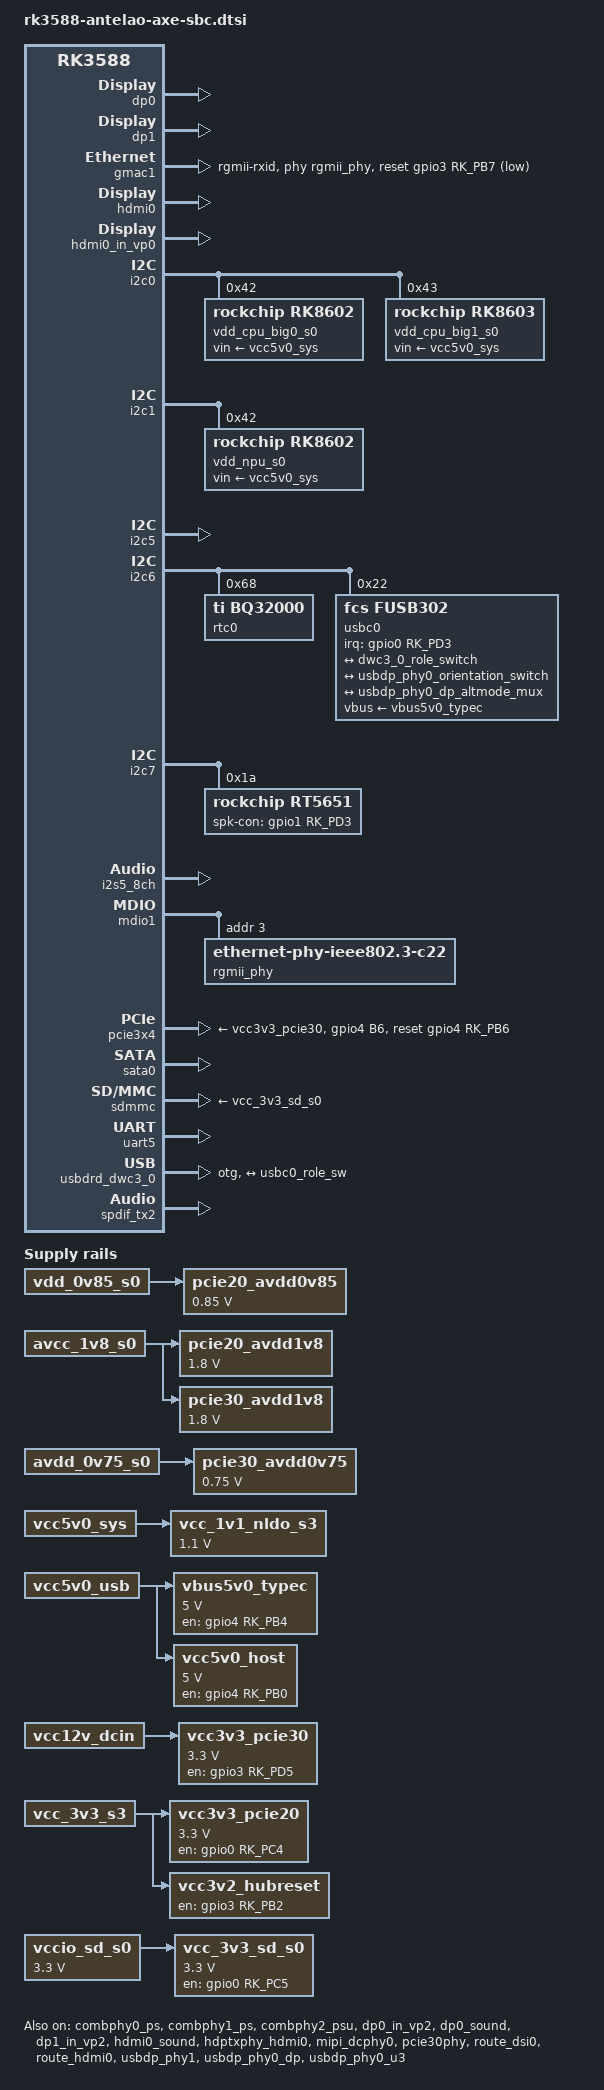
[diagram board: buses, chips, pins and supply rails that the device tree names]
// SPDX-License-Identifier: (GPL-2.0+ OR MIT)
/*
 * Copyright (c) 2022 Rockchip Electronics Co., Ltd.
 *
 */

#include "dt-bindings/usb/pd.h"
#include "rk3588.dtsi"
#include "rk3588-antelao.dtsi"
#include "rk3588-rk806-single.dtsi"

/ {
	/* If hdmirx node is disabled, delete the reserved-memory node here. */
	reserved-memory {
		#address-cells = <2>;
		#size-cells = <2>;
		ranges;

		/* Reserve 256MB memory for hdmirx-controller@fdee0000 */
		cma {
			compatible = "shared-dma-pool";
			reusable;
			reg = <0x0 (256 * 0x100000) 0x0 (256 * 0x100000)>;
			linux,cma-default;
		};
	};

	rt5651_sound: rt5651-sound {
		status = "okay";
		compatible = "rockchip,multicodecs-card";
		rockchip,card-name = "rockchip-rt5651";

		rockchip,format = "i2s";
		rockchip,mclk-fs = <256>;
		rockchip,cpu = <&i2s0_8ch>;
		rockchip,codec = <&rt5651>;
		keyup-threshold-microvolt = <1800000>;
		poll-interval = <100>;
		rockchip,audio-routing =
			"Headphone", "HPOL",
			"Headphone", "HPOR",
			"Speaker", "LOUT2",
			"Speaker", "ROUT2",
			"Headphone", "Headphone Power",
			"Speaker", "Speaker Power",
			"IN2P", "Headset Mic",
			"IN2N", "Headset Mic",
			"Headset Mic", "micbias1";
	};

	pcie20_avdd0v85: pcie20-avdd0v85 {
		compatible = "regulator-fixed";
		regulator-name = "pcie20_avdd0v85";
		regulator-boot-on;
		regulator-always-on;
		regulator-min-microvolt = <850000>;
		regulator-max-microvolt = <850000>;
		vin-supply = <&vdd_0v85_s0>;
	};

	pcie20_avdd1v8: pcie20-avdd1v8 {
		compatible = "regulator-fixed";
		regulator-name = "pcie20_avdd1v8";
		regulator-boot-on;
		regulator-always-on;
		regulator-min-microvolt = <1800000>;
		regulator-max-microvolt = <1800000>;
		vin-supply = <&avcc_1v8_s0>;
	};

	pcie30_avdd0v75: pcie30-avdd0v75 {
		compatible = "regulator-fixed";
		regulator-name = "pcie30_avdd0v75";
		regulator-boot-on;
		regulator-always-on;
		regulator-min-microvolt = <750000>;
		regulator-max-microvolt = <750000>;
		vin-supply = <&avdd_0v75_s0>;
	};

	pcie30_avdd1v8: pcie30-avdd1v8 {
		compatible = "regulator-fixed";
		regulator-name = "pcie30_avdd1v8";
		regulator-boot-on;
		regulator-always-on;
		regulator-min-microvolt = <1800000>;
		regulator-max-microvolt = <1800000>;
		vin-supply = <&avcc_1v8_s0>;
	};

	vcc_1v1_nldo_s3: vcc-1v1-nldo-s3 {
		compatible = "regulator-fixed";
		regulator-name = "vcc_1v1_nldo_s3";
		regulator-always-on;
		regulator-boot-on;
		regulator-min-microvolt = <1100000>;
		regulator-max-microvolt = <1100000>;
		vin-supply = <&vcc5v0_sys>;
	};

	vbus5v0_typec: vbus5v0-typec {
		compatible = "regulator-fixed";
		regulator-name = "vbus5v0_typec";
		regulator-min-microvolt = <5000000>;
		regulator-max-microvolt = <5000000>;
		enable-active-high;
		gpio = <&gpio4 RK_PB4 GPIO_ACTIVE_HIGH>; /* TYPEC5V_PWREN */
		vin-supply = <&vcc5v0_usb>;
		pinctrl-names = "default";
		pinctrl-0 = <&typec5v_pwren>;
	};

	vcc3v3_pcie30: vcc3v3-pcie30 {
		compatible = "regulator-fixed";
		regulator-name = "vcc3v3_pcie30";
		regulator-min-microvolt = <3300000>;
		regulator-max-microvolt = <3300000>;
		enable-active-high;
		/* Add mux */
		gpio = <&gpio3 RK_PD5 GPIO_ACTIVE_HIGH>; /* PCIE30_PWREN_H */
		regulator-always-on;
		startup-delay-us = <50000>;
		vin-supply = <&vcc12v_dcin>;
	};

	vcc5v0_host: vcc5v0-host {
		compatible = "regulator-fixed";
		regulator-name = "vcc5v0_host";
		regulator-boot-on;
		regulator-always-on;
		regulator-min-microvolt = <5000000>;
		regulator-max-microvolt = <5000000>;
		enable-active-high;
		gpio = <&gpio4 RK_PB0 GPIO_ACTIVE_HIGH>; /* USB_HOST_PWREN */
		vin-supply = <&vcc5v0_usb>;
		pinctrl-names = "default";
		pinctrl-0 = <&vcc5v0_host_en>;
	};

	vcc_3v3_sd_s0: vcc-3v3-sd-s0-regulator {
		compatible = "regulator-fixed";
		regulator-name = "vcc_3v3_sd_s0";
		gpio = <&gpio0 RK_PC5 GPIO_ACTIVE_LOW>;
		pinctrl-0 = <&sd_s0_pwr>;
		pinctrl-names = "default";
		regulator-min-microvolt = <3300000>;
		regulator-max-microvolt = <3300000>;
		enable-active-high;
		startup-delay-us = <1000000>;
		vin-supply = <&vccio_sd_s0>;
	};

	vcc3v3_pcie20: vcc3v3-pcie20 {
		compatible = "regulator-fixed";
		regulator-name = "vcc3v3_pcie20";
		pinctrl-0 = <&pcie20_pwr>;
		pinctrl-names = "default";
		regulator-min-microvolt = <3300000>;
		regulator-max-microvolt = <3300000>;
		enable-active-high;
		gpio = <&gpio0 RK_PC4 GPIO_ACTIVE_HIGH>;
		vin-supply = <&vcc_3v3_s3>;
	};

	vcc3v2_hubreset: vcc3v3-hubreset {
		compatible = "regulator-fixed";
		regulator-name = "vcc3v3_hubreset";
		enable-active-high;
		regulator-boot-on;
		regulator-always-on;
		gpio = <&gpio3 RK_PB2 GPIO_ACTIVE_HIGH>;
		vin-supply = <&vcc_3v3_s3>;
		pinctrl-names = "default";
		pinctrl-0 = <&usb_hub_rst>;
	};
};

&combphy0_ps {
	status = "okay";
};

&combphy1_ps {
	status = "okay";
};

&combphy2_psu {
	status = "okay";
};

&dp0 {
	status = "okay";
};

&dp0_in_vp2 {
	status = "okay";
};

&dp0_sound {
	status = "okay";
};

&dp1 {
	pinctrl-names = "default";
	pinctrl-0 = <&dp1m0_pins>;
	status = "okay";
};

&dp1_in_vp2 {
	status = "okay";
};

&dsi0 {
	status = "disabled";
};

&dsi0_in_vp2 {
	status = "disabled";
};

&dsi0_in_vp3 {
	status = "disabled";
};

&dsi1 {
	status = "disabled";
};

&dsi1_in_vp2 {
	status = "disabled";
};

&dsi1_in_vp3 {
	status = "disabled";
};

&gmac1 {
	/* Use rgmii-rxid mode to disable rx delay inside Soc */
	phy-mode = "rgmii-rxid";
	clock_in_out = "output";

	snps,reset-gpio = <&gpio3 RK_PB7 GPIO_ACTIVE_LOW>;
	snps,reset-active-low;
	/* Reset time is 20ms, 100ms for rtl8211f */
	snps,reset-delays-us = <0 20000 100000>;

	pinctrl-names = "default";
	pinctrl-0 = <&gmac1_miim
		     &gmac1_tx_bus2
		     &gmac1_rx_bus2
		     &gmac1_rgmii_clk
		     &gmac1_rgmii_bus>;

	tx_delay = <0x43>;
	/* rx_delay = <0x3f>; */

	phy-handle = <&rgmii_phy>;
	status = "okay";
};

&hdmi0 {
	status = "okay";
};

&hdmi0_in_vp0 {
	status = "okay";
};

&hdmi0_sound {
	status = "okay";
};

&hdmi1 {
	status = "disabled";
};

&hdmi1_in_vp1 {
	status = "disabled";
};

&hdmi1_sound {
	status = "disabled";
};

&hdmirx_ctrler {
	status = "disabled";
};

&hdptxphy_hdmi0 {
	status = "okay";
};

&hdptxphy_hdmi1 {
	status = "disabled";
};

&i2c0 {
	status = "okay";
	pinctrl-names = "default";
	pinctrl-0 = <&i2c0m2_xfer>;

	vdd_cpu_big0_s0: vdd_cpu_big0_mem_s0: rk8602@42 {
		compatible = "rockchip,rk8602";
		reg = <0x42>;
		vin-supply = <&vcc5v0_sys>;
		regulator-compatible = "rk860x-reg";
		regulator-name = "vdd_cpu_big0_s0";
		regulator-min-microvolt = <550000>;
		regulator-max-microvolt = <1050000>;
		regulator-ramp-delay = <2300>;
		rockchip,suspend-voltage-selector = <1>;
		regulator-boot-on;
		regulator-always-on;
		regulator-state-mem {
			regulator-off-in-suspend;
		};
	};

	vdd_cpu_big1_s0: vdd_cpu_big1_mem_s0: rk8603@43 {
		compatible = "rockchip,rk8603";
		reg = <0x43>;
		vin-supply = <&vcc5v0_sys>;
		regulator-compatible = "rk860x-reg";
		regulator-name = "vdd_cpu_big1_s0";
		regulator-min-microvolt = <550000>;
		regulator-max-microvolt = <1050000>;
		regulator-ramp-delay = <2300>;
		rockchip,suspend-voltage-selector = <1>;
		regulator-boot-on;
		regulator-always-on;
		regulator-state-mem {
			regulator-off-in-suspend;
		};
	};
};

&i2c1 {
	status = "okay";
	pinctrl-names = "default";
	pinctrl-0 = <&i2c1m2_xfer>;

	vdd_npu_s0: vdd_npu_mem_s0: rk8602@42 {
		compatible = "rockchip,rk8602";
		reg = <0x42>;
		vin-supply = <&vcc5v0_sys>;
		regulator-compatible = "rk860x-reg";
		regulator-name = "vdd_npu_s0";
		regulator-min-microvolt = <550000>;
		regulator-max-microvolt = <950000>;
		regulator-ramp-delay = <2300>;
		rockchip,suspend-voltage-selector = <1>;
		regulator-boot-on;
		regulator-always-on;
		regulator-state-mem {
			regulator-off-in-suspend;
		};
	};
};

&i2c4 {
	status = "disabled";
};

&i2c5 {
	status = "okay";
};

&i2c6 {
	status = "okay";

	rtc0: rtc@68 {
		compatible = "ti,bq32000";
		reg = <0x68>;
		status = "okay";
	};

	usbc0: fusb302@22 {
		compatible = "fcs,fusb302";
		reg = <0x22>;
		interrupt-parent = <&gpio0>;
		interrupts = <RK_PD3 IRQ_TYPE_LEVEL_LOW>;
		pinctrl-names = "default";
		pinctrl-0 = <&usbc0_int>;
		vbus-supply = <&vbus5v0_typec>;
		status = "okay";

		ports {
			#address-cells = <1>;
			#size-cells = <0>;

			port@0 {
				reg = <0>;
				usbc0_role_sw: endpoint@0 {
					remote-endpoint = <&dwc3_0_role_switch>;
				};
			};
		};

		usb_con: connector {
			compatible = "usb-c-connector";
			label = "USB-C";
			data-role = "dual";
			power-role = "dual";
			try-power-role = "sink";
			op-sink-microwatt = <1000000>;
			sink-pdos =
				<PDO_FIXED(5000, 1000, PDO_FIXED_USB_COMM)>;
			source-pdos =
				<PDO_FIXED(5000, 3000, PDO_FIXED_USB_COMM)>;

			altmodes {
				#address-cells = <1>;
				#size-cells = <0>;

				altmode@0 {
					reg = <0>;
					svid = <0xff01>;
					vdo = <0xffffffff>;
				};
			};

			ports {
				#address-cells = <1>;
				#size-cells = <0>;

				port@0 {
					reg = <0>;
					usbc0_orien_sw: endpoint {
						remote-endpoint = <&usbdp_phy0_orientation_switch>;
					};
				};

				port@1 {
					reg = <1>;
					dp_altmode_mux: endpoint {
						remote-endpoint = <&usbdp_phy0_dp_altmode_mux>;
					};
				};
			};

		};
	};
};

&i2c7 {
	status = "okay";

	rt5651: rt5651@1a {
		status = "okay";
		#sound-dai-cells = <0>;
		compatible = "rockchip,rt5651";
		spk-con-gpio = <&gpio1 RK_PD3 GPIO_ACTIVE_HIGH>;
		reg = <0x1a>;
		clocks = <&mclkout_i2s0>;
		clock-names = "mclk";
		pinctrl-names = "default";
		pinctrl-0 = <&i2s0_mclk>;
	};
};

&i2s5_8ch {
	status = "okay";
};

&i2s6_8ch {
	status = "disabled";
};

&i2s7_8ch {
	status = "disabled";
};

&mdio1 {
	rgmii_phy: phy@3 {
		compatible = "ethernet-phy-ieee802.3-c22";
		reg = <0x3>;
	};
};

&mipi_dcphy0 {
	status = "okay";
};

&mipi_dcphy1 {
	status = "disabled";
};

&pcie2x1l0 {
	status = "disabled";
};

&pcie30phy {
	status = "okay";
};

&pcie3x4 {
	pinctrl-0 = <&pcie3x4_reset>;
	pinctrl-names = "default";
	reset-gpios = <&gpio4 RK_PB6 GPIO_ACTIVE_HIGH>;
	vpcie3v3-supply = <&vcc3v3_pcie30>;
	rockchip,perst-inactive-ms = <1000>;
	rockchip,skip-scan-in-resume;

	/* Add Axelera specific mapping */
	ranges = <0x81000000 0x0 0xf0100000 0x0 0xf0100000 0x0 0x100000
		  0x82000000 0x0 0x40000000 0x9 0x00000000 0x0 0x20000000
		  0xc3000000 0x0 0x60000000 0x9 0x20000000 0x0 0x20000000>;

	status = "okay";
};

&pinctrl {
	cam {
		mipicsi0_pwr: mipicsi0-pwr {
			rockchip,pins =
				/* camera power en */
				<1 RK_PD2 RK_FUNC_GPIO &pcfg_pull_none>;
		};
		mipicsi1_pwr: mipicsi1-pwr {
			rockchip,pins =
				/* camera power en */
				<1 RK_PD3 RK_FUNC_GPIO &pcfg_pull_none>;
		};

		mipidcphy0_pwr: mipidcphy0-pwr {
			rockchip,pins =
				/* camera power en */
				<2 RK_PC4 RK_FUNC_GPIO &pcfg_pull_none>;
		};
	};


	sdmmc {
		sd_s0_pwr: sd-s0-pwr {
			rockchip,pins = <0 RK_PC5 RK_FUNC_GPIO &pcfg_pull_up>;
		};
	};

	pci {
		pcie20_pwr: pcie20-pwr {
			rockchip,pins = <0 RK_PC4 RK_FUNC_GPIO &pcfg_pull_none>;
		};

		pcie_reset: pcie-reset {
			rockchip,pins = <4 RK_PA2 RK_FUNC_GPIO &pcfg_pull_none>;
		};

		pcie3x4_reset: pcie3x4_reset {
			rockchip,pins = <4 RK_PB6 RK_FUNC_GPIO &pcfg_pull_none>;
		};
	};

	usb {
		vcc5v0_host_en: vcc5v0-host-en {
			rockchip,pins = <4 RK_PB0 RK_FUNC_GPIO &pcfg_pull_none>;
		};

		usb_hub_rst: usb-hub-rst {
			rockchip,pins = <3 RK_PB2 RK_FUNC_GPIO &pcfg_pull_none>;
		};
	};

	usb-typec {
		usbc0_int: usbc0-int {
			rockchip,pins = <0 RK_PD3 RK_FUNC_GPIO &pcfg_pull_up>;
		};

		typec5v_pwren: typec5v-pwren {
			rockchip,pins = <4 RK_PB4 RK_FUNC_GPIO &pcfg_pull_none>;
		};
	};
};

&pwm1 {
	status = "disabled";
};

&pwm3 {
	status = "disabled";
};

&route_dsi0 {
	status = "okay";
	connect = <&vp3_out_dsi0>;
};

&route_dsi1 {
	status = "disabled";
	connect = <&vp3_out_dsi1>;
};

&route_hdmi0 {
	status = "okay";
};

&route_hdmi1 {
	status = "disabled";
};

&sata0 {
	status = "okay";
};

&sdmmc {
	status = "okay";
	vmmc-supply = <&vcc_3v3_sd_s0>;
};

&uart5 {
	status = "okay";
	pinctrl-names = "default";
	pinctrl-0 = <&uart5m1_xfer>;
};

&vccio_sd_s0 {
	regulator-min-microvolt = <3300000>;
	regulator-max-microvolt = <3300000>;
};

&u2phy0_otg {
	rockchip,typec-vbus-det;
};

&u2phy1_otg {
	phy-supply = <&vcc5v0_host>;
};

&u2phy2_host {
	phy-supply = <&vcc5v0_host>;
};

&u2phy3_host {
	phy-supply = <&vcc5v0_host>;
};

&usbdp_phy0 {
	orientation-switch;
	svid = <0xff01>;
	sbu1-dc-gpios = <&gpio4 RK_PA6 GPIO_ACTIVE_HIGH>;
	sbu2-dc-gpios = <&gpio4 RK_PA7 GPIO_ACTIVE_HIGH>;

	port {
		#address-cells = <1>;
		#size-cells = <0>;
		usbdp_phy0_orientation_switch: endpoint@0 {
			reg = <0>;
			remote-endpoint = <&usbc0_orien_sw>;
		};

		usbdp_phy0_dp_altmode_mux: endpoint@1 {
			reg = <1>;
			remote-endpoint = <&dp_altmode_mux>;
		};
	};
};

&usbdp_phy1 {
	rockchip,dp-lane-mux = <2 3>;
	status = "okay";
};

&usbdrd_dwc3_0 {
	dr_mode = "otg";
	usb-role-switch;
	status = "okay";
	port {
		#address-cells = <1>;
		#size-cells = <0>;
		dwc3_0_role_switch: endpoint@0 {
			reg = <0>;
			remote-endpoint = <&usbc0_role_sw>;
		};
	};
};

&usbhost3_0 {
	status = "disabled";
};

&usbhost_dwc3_0 {
	status = "disabled";
};

&usbdp_phy0_dp {
	status = "okay";
};

&usbdp_phy0_u3 {
	status = "okay";
};

&spdif_tx2 {
	status = "okay";
};

&pcie2x1l1 {
	reset-gpios = <&gpio4 RK_PA2 GPIO_ACTIVE_HIGH>;
	vpcie3v3-supply = <&vcc3v3_pcie30>;
	pinctrl-names = "default";
	pinctrl-0 = <&pcie_reset>;
	status = "disabled";
};
